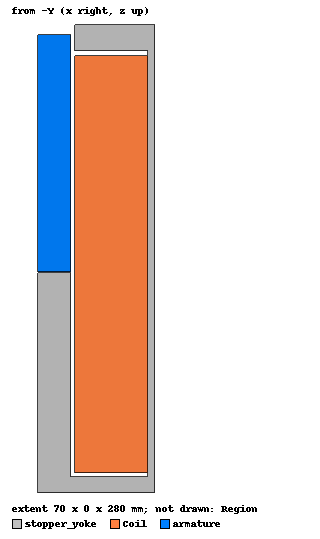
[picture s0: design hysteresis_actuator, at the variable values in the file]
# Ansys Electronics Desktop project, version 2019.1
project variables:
  $dm = 10mm
  $g = 1mm
  $Sigma = 58000000*(1/(1+0.00393*($Coil_Temp-20cel)))  # Copper Conductivity in S/m
  $Coil_Temp = 20cel  # Temperature of Coil in Celsius
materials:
  Hysteresis_steel: permeability{BType=normal HUnit=A_per_meter BUnit=tesla curve (0, 0) (20.72, 0.053398) (41.42, 0.10674) (62.08, 0.15998) (82.67, 0.21307) (103.18, 0.26594) (123.6, 0.31855) (143.89, 0.37084) (168.46, 0.42277) (199.18, 0.47428) (229.63, 0.52533) (259.77, 0.57585) (289.57, 0.62581) (321.79, 0.67515) (363.09, 0.72382) (403.78, 0.77178) (443.83, 0.81898) (488.28, 0.86537) (540.34, 0.91091) (591.37, 0.95554) (646.42, 0.99923) (709.64, 1.0419) (771.33, 1.0836) (844.85, 1.1242) (918.25, 1.1637) (1002.35, 1.2021) (1087.25, 1.2392) (1185.45, 1.2752) (1288.05, 1.3099) (1397.25, 1.3433) (1517.65, 1.3753) (1647.55, 1.406) (1786.75, 1.4354) (1936.05, 1.4633) (2095.75, 1.4897) (2267.15, 1.5147) (2450.55, 1.5382) (2642.75, 1.5602) (2846.75, 1.5806) (3058.15, 1.5995) (3276.25, 1.6168) (3498.55, 1.6325) (3721.25, 1.6466) (3939.45, 1.6591) (4147.25, 1.6699) (4339.65, 1.6791) (4509.15, 1.6866) (4649.35, 1.6925) (4754.55, 1.6966) (4819.75, 1.6992) (7500, 1.73) (10000, 1.74) (15000, 1.74628)} conductivity=2000000 core_loss_type="Hysteresis Model" core_loss_hci=-154.15A_per_meter core_loss_br=0.5tesla mass_density=7872
  copper: permeability=0.999991 conductivity=58000000
  vacuum: permittivity=1

design hysteresis_actuator (Maxwell 2D, Transient, about Z geometry, model units mm)
options: Multiplier=1
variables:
  airGap = 3mm
  armatureLength = 142mm
  Turns = 3300
  clearance = 2mm
  coilThickness = 44mm
  yokeHeight = 274mm
  OD = 140mm
  yokeThickness = 4mm
  armatureDia = 40mm
  yokeFlangeThickness = 12mm
  stopperHeight = 132mm
  Ipk = 0.05A
  shim = 0.25mm
  stroke = 0.12mm+shim
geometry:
  Coil [copper] = rectangle(corner=((armatureDia/2)+clearance, 0, yokeFlangeThickness), z_size=yokeHeight-(2*yokeFlangeThickness), x_size=coilThickness)
  stopper_yoke [Hysteresis_steel] = polyline(y=0mm, xz: (armatureDia/2, stopperHeight) (0mm, stopperHeight) (0mm, 0mm) (OD/2, 0mm) (OD/2, 280mm) ((armatureDia/2)+clearance, 280mm) ((armatureDia/2)+clearance, 265mm) ((OD/2)-4mm, 265mm) ((OD/2)-4mm, 10mm) (20mm, 10mm) (armatureDia/2, stopperHeight), closed, covered)
  armature [Hysteresis_steel] = rectangle(corner=(0mm, 0mm, stopperHeight+airGap), z_size=armatureLength, x_size=armatureDia/2)
  point Point1 = (8mm, 0mm, 25mm)
  [Coil, stopper_yoke].move(0mm, 0mm, -132mm)
  armature.move(0mm, 0mm, (-132-3) mm)
  armature.move(0mm, 0mm, stroke)
  Region [vacuum] = region(+X=75mm absolute offset, -X=75mm absolute offset, +Y=0 percentage offset, -Y=0 percentage offset, +Z=75mm absolute offset, -Z=75mm absolute offset)
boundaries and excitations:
  Balloon1: Balloon Edges=Region.edge(2 of 4, 3 of 4, 4 of 4)
  Coil: Coil Objects=Coil Conductor_number=3300 Winding=Winding1 PolarityType=Positive
  Winding1: Winding Group Type=Current IsSolid=false Current=Ipk*abs(sin(2*pi*50*time)) ParallelBranchesNum=1
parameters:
  Force1: Force Reference_CS=Global Objects=armature
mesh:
  coil_length: LengthBased RefineInside Objects=Coil MaxLength=30mm
  length_steel: LengthBased RefineInside Objects=[stopper_yoke, armature] MaxLength=1.5mm
  armature_face: LengthBased Edges=armature.edge(z at corner) MaxLength=0.75mm
  initial mesh: MeshMethod=AnsoftTAU
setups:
  Setup1: Transient NonlinearSolverResidual=0.0001 StopTime=0.01s TimeStep=0.001/(Ipk/0.05) ExpressionCache{CacheItem{Title=Hz1 Expression=Hz TraceID=103 ReportType=9} CacheItem{Title=Bz1 Expression=Bz TraceID=106 ReportType=9}} InitialTimeStep=0.002s MinTimeStep=0.001s MaxTimeStep=0.003s TimeStepErrTolerance=0.0001
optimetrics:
  ParametricSetup1: Parametric Sim._Setups=[Setup1]
    sweep Ipk: LIN 0.05A 0.25A 0.05A
    sweep shim: LIN 0mm 0.5mm 0.25mm
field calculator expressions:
  Hz = Fundamental_Quantity(21) | ScalarZ
  Bz = Fundamental_Quantity(22) | ScalarZ
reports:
  Winding Plot 1: InputCurrent(Winding1) vs Time on Setup1 : Transient [Ipk=all shim=all]
   Plot 1: -Force1.Force_z vs Time on Setup1 : Transient [Ipk=all shim=all]; markers MY1 at y=4.96351
  Remeanent Flux Density vs Current vs shim thickenss: abs(YAtXMax(ExprCache(Bz1))) vs Ipk on Setup1 : Transient [shim=all]
  Force Plot 1: abs(YAtXMax(Force1.Force_z)) vs Ipk on Setup1 : Transient [shim=all]
  Remeanent B Field vs Magnetizing Force: ExprCache(Bz1) vs ExprCache(Hz1) on Setup1 : Transient [Ipk=all shim=all]
  Force Plot 2: Force1.Force_z vs InputCurrent(Winding1) on Setup1 : Transient [Ipk=all shim=all]
   Plot 2: -Force1.Force_z vs InputCurrent(Winding1) on Setup1 : Transient [Ipk=all shim=all]
